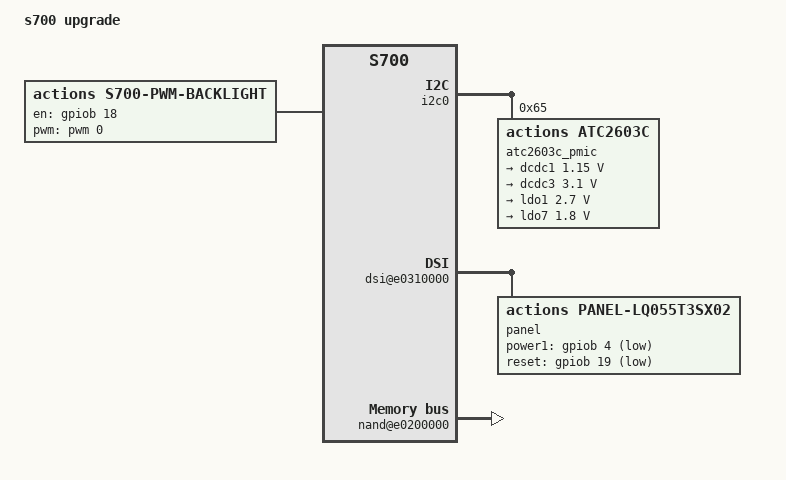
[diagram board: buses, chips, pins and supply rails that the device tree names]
/*
 * Copyright (c) 2015 Actions Semi Co., Ltd.
 *
 * SPDX-License-Identifier:	GPL-2.0+
 */

/dts-v1/;

#include "s700.dtsi"

/ {
	model = "s700 upgrade";
	compatible = "actions,s700_upgrade", "actions,s700";

	chosen {
		stdout-path = &serial5;
	};

	clock:e0168000 {
		compatible = "actions,owl-clk";
		core_pll = <600>;
		dev_pll = <600>;
		display_pll = <720>;
		ddr_pll_spread_spectrum =<1>;   /* 0 : disable ; else enable*/
		nand_pll_spread_spectrum =<1>;   /* 0 : disable ; else enable*/
		display_pll_spread_spectrum =<1>;   /* 0 : disable ; else enable*/
		dsi_pll_spread_spectrum =<1>;   /* 0 : disable ; else enable*/
	};

	pwm: pwm@e01b0000 {
		pwm0 {
			id = <0>;
			mfp = <0>;
		};

		pwm1 {
			id = <1>;
			mfp = <0>;
		};

		pwm2 {
			id = <2>;
			mfp = <0>;
		};
	};

	xhci@e0400000 {
		actions,vbus-gpio = <&gpiod 21 0>;  /* GPIOD21,  1: low active; 0: high active */
	};

	adfu {
		compatible = "actions,usb-adfu";
		detect_times = <100>;
		detect_interval = <5>;	/* total time =  detect_times * detect_interval(ms) */
		vbus_type = <2>;	/* 1: IC detect, 2: PMU detect */
	};

	i2c0: i2c@e0170000 {
		#address-cells = <1>;
		#size-cells = <1>;
		atc2603c_pmic {
			compatible = "actions,atc2603c";
			reg = <0x65 1>;


			total_steps = <64>;
			pwms_gpu = <&pwm 2 2666 0>;
			vdd_gpu = <20>;  // 1.15V
			vdd_core = <55>; //1.10
			pwms_core = <&pwm 1 2666 0>;
			atc2603c_pstore {
				compatible = "actions,atc2603c-pstore";
			};

			voltage-regulators {
				dcdc1: dcdc1 {
					regulator-name = "dcdc1";
					regulator-min-microvolt = <1150000>;
					regulator-max-microvolt = <1150000>;
					regulator-always-on;
				};

				dcdc3: dcdc3 {
					regulator-name = "dcdc3";
					regulator-min-microvolt = <3100000>;
					regulator-max-microvolt = <3100000>;
					regulator-always-on;
				};

				ldo1: ldo1{
					regulator-name = "ldo1";
					regulator-min-microvolt  = <2700000>;
					regulator-max-microvolt = <2700000>;
					regulator-always-on;
				};


			ldo7: ldo7{
				regulator-name = "ldo7";
				regulator-min-microvolt  = <1800000>;
				regulator-max-microvolt = <1800000>;
			};
		};

		atc2603c_adckeypad {
			#define KEY_VOLUMEDOWN	114
			#define KEY_VOLUMEUP	115
			#define KEY_BACK		158
			compatible = "actions,atc2603c-adckeypad";
			keymapsize = <3>;
			adc_channel_name = "AUX0";
			key_val = <KEY_VOLUMEUP KEY_VOLUMEDOWN KEY_BACK>;
			left_adc_val =  <0 158 256>;
			right_adc_val = <158  256 360>;
		};
		atc2603c-battery{
			compatible = "actions,atc2603c-battery";
			capacity = <4000>;/*unit:mAh*/
			shutdown_current = <50>;/*unit:ua*/
		};
		atc2603c-charger{
			compatible = "actions,atc2603c-charger";
			rsense = <20>;/*unit:mohm*/
			support_adaptor_type = <2>; /*1: DCIN  2: USB  3:DCIN+USB*/
			usb_pc_ctl_mode = <1>; /*0:disable vbus ctl;1:current limited;2:voltage limited*/
			wall_switch = <&gpioa 25 0>;/*GPIOA25,0: high, 1: low*/
		};

		};
	};

	de@e02e0000 {
		gamma_adjust_needed = <0>;
	};

	backlight {
		compatible = "actions,s700-pwm-backlight";

		/* GPIOB18, active high */
		en-gpios = <&gpiob 18 0>;

		/*1.pwm num; 2. period in ns; */
		/*3.plarity, 0: high active, 1: low active*/
		pwms = <&pwm 0 50000 1>;

		total_steps = <1024>;
		min_brightness = <100>;
		max_brightness = <1000>;
		dft_brightness = <500>;

		delay_bf_pwm = <0>; /*in ms*/
		delay_af_pwm = <20>; /*in ms*/
	};

	dsi@e0310000 {
		panel_configs = <&config0>;

		/* 1080x1920p60 */
		config0: mipi_configs {
			lcd_mode = <1>;		/* 0: command mode 1: video mode */
			lane_count = <4>;	/* 1: 1,2:1~2, 3:1~3, 4:1~4
			lane_polarity = <0>;	/* 0: normal,1: reversed*/
			lane_swap = <0x3210>;	/* sequence of data lines */

			burst_bllp = <60>;	/* 0 ~ 333, just burst mode needed
						 * It will affect the frame rate */

			video_mode = <0>;	/* 0: sync mode, 1:de mode, 2: burst mode */
			pclk_rate = <137>;	/* 137MHz, HSCLK, divider X */
		};

		/* sharp lq055t3sx02 */
		panel@lq055t3sx02 {
			compatible = "actions,panel-lq055t3sx02";

			/* panel's fixed info */
			width_mm = <68>;
			height_mm = <121>;
			bpp = <24>;

			is_primary = <1>;

			/* operation delay in ms */
			power_on_delay = <10>;
			power_off_delay = <0>;
			enable_delay = <10>;
			disable_delay = <0>;

			/*
			 * property val of the display effects of panel,
			 * range is 0 ~ 100
			 */
			gamma_r_val = <100>;
			gamma_g_val = <100>;
			gamma_b_val = <90>;

			power1-gpio = <&gpiob 4 1>;	/* low active, control panel VSP */
			reset-gpio = <&gpiob 19 1>;	/* low active, control panel reset */
			/* screen init command info */
			mipi_cmd = <0x05FF1514 0x01FB1514 0x009F1514 0x00FF1514
				    0x01FB1532 0x00FF1514 0x08D31514 0x0ED41514>;
			videomode-0 = <&mode0>;
			/* 1080x1920p60 */
			mode0: videomode {
				refresh_rate = <60>;
				xres = <1080>;
				yres = <1920>;

				/* in pico second, 0.000 000 000 001s */
				pixel_clock = <7299>;

				hsw = <8>;
				hbp = <16>;
				/*if the burst mode transmission, hfp need to includ burst_bllp*/
				hfp = <102>;

				vsw = <2>;
				vbp = <6>;
				/* vfp can be as small as possible,
				 * it related to preline time */
				vfp = <14>;

				/* 0: FB_VMODE_NONINTERLACED, 1:FB_VMODE_INTERLACED */
				vmode = <0>;
			};
		};
	};
	
	nand@e0200000 {
		compatible = "actions,s700-nand";
		reg = <0 0xe0200000 0 0x1000>;

		pad_drv = <3>;/* value:0-15, default 3*/
		use_clk = <0>;/* value:10-50, default 0*/
		extra_ecc_enable = <0>;/* value:0-1, 0:enable, 1:disable, default 0*/
	};

};
